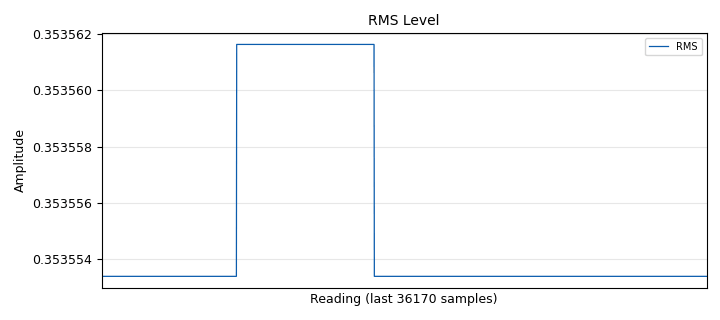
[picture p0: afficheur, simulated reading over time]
options:
  parameters:
    generate_options: qt_gui
    id: fg_ch40_001
    output_language: python
    title: FG-CH40-001
  states: {}

blocks:
- name: amplitude
  id: variable
  parameters:
    value: '0.5'
  states: {}
- name: samp_rate
  id: variable
  parameters:
    value: '32000'
  states: {}
- name: afficheur
  id: qtgui_number_sink
  parameters:
    graph_type: qtgui.NUM_GRAPH_HORIZ
    gui_hint: 0,0,1,1
    label1: '"RMS"'
    min: '0'
    name: '"RMS Level"'
    type: float
    unit1: '""'
  states: {}
- name: debit
  id: blocks_throttle2
  parameters:
    samples_per_second: samp_rate
    type: float
  states: {}
- name: niveau
  id: epy_block
  parameters:
    _source_code: |
      """Root-mean-square level, embedded Python block of chapter 40."""

      import numpy as np
      from gnuradio import gr


      class blk(gr.sync_block):
          """Returns, for each sample, the RMS value of the chunk received."""

          def __init__(self, threshold=0.0):
              gr.sync_block.__init__(self, name='RMS Level',
                                     in_sig=[np.float32], out_sig=[np.float32])
              self.threshold = threshold

          def work(self, input_items, output_items):
              entree = input_items[0]
              efficace = float(np.sqrt(np.mean(entree.astype(np.float64) ** 2)))
              output_items[0][:] = max(efficace, self.threshold)
              return len(output_items[0])
    affinity: '[]'
    threshold: '0.0'
  states: {}
- name: source
  id: analog_sig_source_x
  parameters:
    amp: amplitude
    freq: '1000'
    offset: '0'
    phase: '0'
    samp_rate: samp_rate
    type: float
    waveform: analog.GR_COS_WAVE
  states: {}

connections:
- [debit, '0', niveau, '0']
- [niveau, '0', afficheur, '0']
- [source, '0', debit, '0']

metadata:
  file_format: 1
  grc_version: 3.10.12.0
